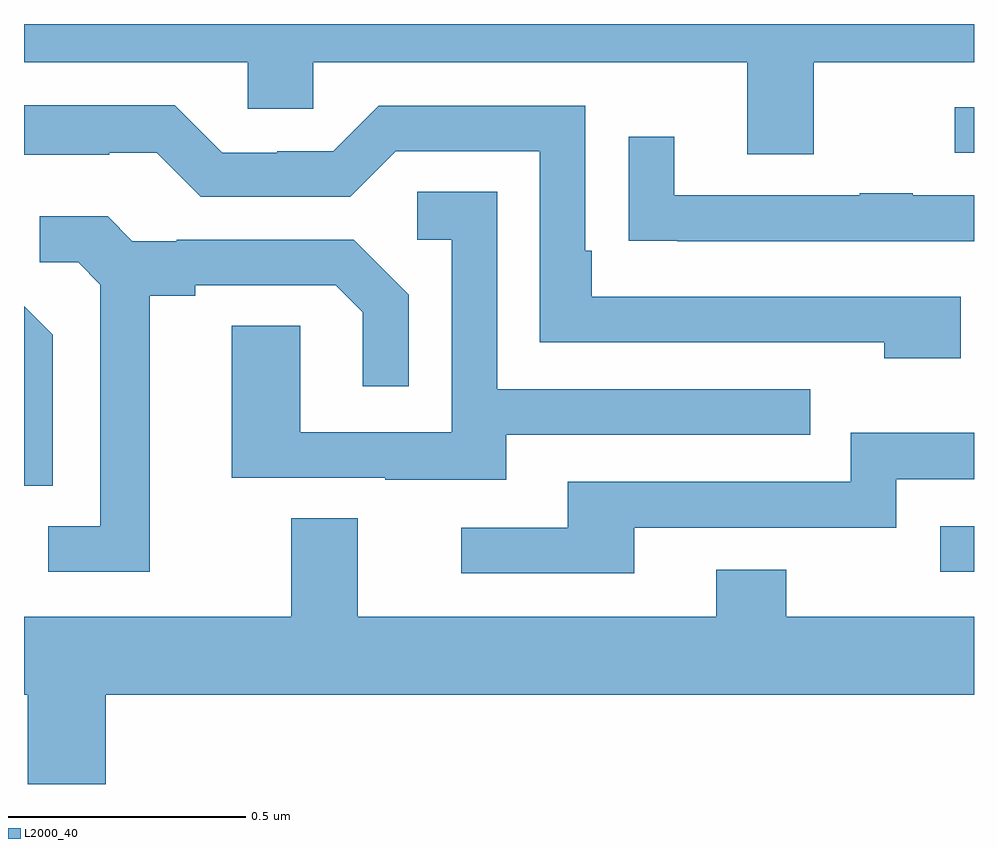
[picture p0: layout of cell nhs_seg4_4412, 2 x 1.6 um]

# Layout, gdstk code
import gdstk
lib = gdstk.Library(unit=1e-6, precision=1e-09)
def R(c, l, rs):  # rectangles x0, y0, x1, y1
    for r in rs: c.add(gdstk.rectangle(r[:2], r[2:], *l))
def P(c, l, *ps):  # polygons
    for p in ps: c.add(gdstk.Polygon(p, *l))
L2000_40 = (2000, 40)

nhs_seg4_4412 = lib.new_cell('nhs_seg4_4412')
R(nhs_seg4_4412, L2000_40, [(166.929,795.747,167,795.843), (166.959,796.629,167,796.725)])
P(nhs_seg4_4412, L2000_40, [(166.663,796.82),(167,796.82),(167,796.9),(165,796.9),(165,796.82),(165.471,796.82),(165.471,796.722),(165.609,796.722),(165.609,796.82),(166.523,796.82),(166.523,796.626),(166.663,796.626)],
  [(166.972,796.326),(166.195,796.326),(166.195,796.423),(166.182,796.423),(166.182,796.728),(165.747,796.728),(165.651,796.632),(165.533,796.632),(165.533,796.629),(165.417,796.629),(165.317,796.729),(165,796.729),(165,796.625),(165.179,796.625),(165.179,796.629),(165.279,796.629),(165.372,796.536),(165.687,796.536),(165.783,796.632),(166.086,796.632),(166.086,796.23),(166.811,796.23),(166.811,796.196),(166.972,796.196)],
  [(167,796.539),(166.871,796.539),(166.871,796.544),(166.759,796.544),(166.759,796.539),(166.369,796.539),(166.369,796.663),(166.273,796.663),(166.273,796.444),(166.375,796.444),(166.375,796.443),(167,796.443)],
  [(166.015,796.035),(166.655,796.035),(166.655,796.131),(165.996,796.131),(165.996,796.547),(165.828,796.547),(165.828,796.446),(165.9,796.446),(165.9,796.041),(165.582,796.041),(165.582,796.265),(165.437,796.265),(165.437,795.945),(165.761,795.945),(165.761,795.941),(166.015,795.941)],
  [(165.265,796.328),(165.361,796.328),(165.361,796.35),(165.656,796.35),(165.713,796.293),(165.713,796.137),(165.81,796.137),(165.81,796.33),(165.694,796.446),(165.322,796.446),(165.322,796.443),(165.228,796.443),(165.176,796.495),(165.033,796.495),(165.033,796.398),(165.114,796.398),(165.161,796.351),(165.161,795.843),(165.051,795.843),(165.051,795.747),(165.265,795.747)],
  [(165.06,796.246),(165,796.306),(165,795.928),(165.06,795.928)],
  [(166.285,795.84),(166.836,795.84),(166.836,795.942),(167,795.942),(167,796.039),(166.74,796.039),(166.74,795.936),(166.145,795.936),(166.145,795.84),(165.921,795.84),(165.921,795.744),(166.285,795.744)],
  [(165.172,795.488),(167,795.488),(167,795.652),(166.605,795.652),(166.605,795.751),(166.457,795.751),(166.457,795.652),(165.703,795.652),(165.703,795.86),(165.563,795.86),(165.563,795.652),(165,795.652),(165,795.488),(165.008,795.488),(165.008,795.3),(165.172,795.3)])

lib.write_gds('nhs_seg4_4412.gds')
